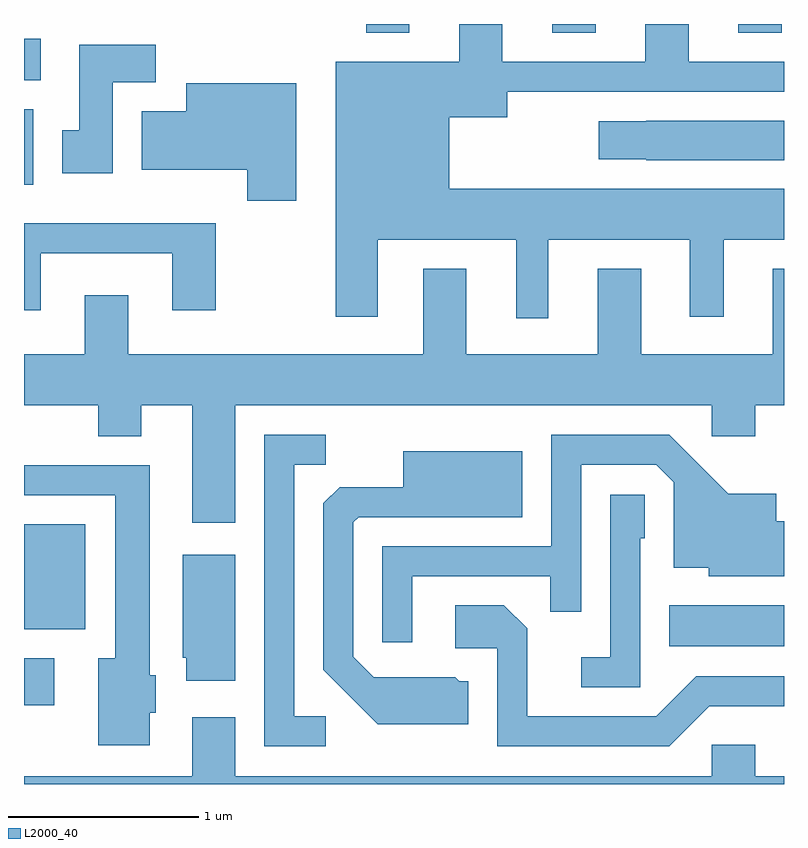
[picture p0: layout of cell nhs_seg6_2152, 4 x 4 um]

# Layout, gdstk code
import gdstk
lib = gdstk.Library(unit=1e-6, precision=1e-09)
def R(c, l, rs):  # rectangles x0, y0, x1, y1
    for r in rs: c.add(gdstk.rectangle(r[:2], r[2:], *l))
def A(c, l, x, y, w, h, nx, ny, dx, dy):  # array of equal rectangles
    R(c, l, [(x+i*dx, y+j*dy, x+i*dx+w, y+j*dy+h) for i in range(nx) for j in range(ny)])
def P(c, l, *ps):  # polygons
    for p in ps: c.add(gdstk.Polygon(p, *l))
L2000_40 = (2000, 40)

nhs_seg6_2152 = lib.new_cell('nhs_seg6_2152')
A(nhs_seg6_2152, L2000_40, 251.411, 1654.116, 0.228, 0.046, 3, 1, 0.98, 0)
R(nhs_seg6_2152, L2000_40, [(249.611,1650.576,249.769,1650.824), (253.006,1650.886,253.611,1651.104), (249.611,1650.976,249.934,1651.529), (249.611,1653.316,249.659,1653.714), (249.611,1653.866,249.699,1654.084)])
P(nhs_seg6_2152, L2000_40, [(252.369,1653.026),(253.116,1653.026),(253.116,1652.621),(253.294,1652.621),(253.294,1653.026),(253.611,1653.026),(253.611,1653.294),(251.849,1653.294),(251.849,1653.671),(252.154,1653.671),(252.154,1653.806),(253.611,1653.806),(253.611,1653.964),(253.109,1653.964),(253.109,1654.162),(252.881,1654.162),(252.881,1653.964),(252.129,1653.964),(252.129,1654.162),(251.901,1654.162),(251.901,1653.964),(251.251,1653.964),(251.251,1652.621),(251.474,1652.621),(251.474,1653.026),(252.201,1653.026),(252.201,1652.613),(252.369,1652.613)],
  [(250.079,1653.856),(250.304,1653.856),(250.304,1654.054),(249.901,1654.054),(249.901,1653.604),(249.811,1653.604),(249.811,1653.376),(250.079,1653.376)],
  [(251.044,1653.849),(250.466,1653.849),(250.466,1653.704),(250.231,1653.704),(250.231,1653.396),(250.786,1653.396),(250.786,1653.231),(251.044,1653.231)],
  [(253.611,1653.654),(252.885,1653.654),(252.885,1653.649),(252.636,1653.649),(252.636,1653.451),(252.885,1653.451),(252.885,1653.446),(253.611,1653.446)],
  [(249.699,1652.956),(250.391,1652.956),(250.391,1652.656),(250.619,1652.656),(250.619,1653.114),(249.611,1653.114),(249.611,1652.656),(249.699,1652.656)],
  [(250.724,1652.156),(253.231,1652.156),(253.231,1651.991),(253.459,1651.991),(253.459,1652.156),(253.611,1652.156),(253.611,1652.874),(253.551,1652.874),(253.551,1652.424),(252.859,1652.424),(252.859,1652.874),(252.631,1652.874),(252.631,1652.424),(251.939,1652.424),(251.939,1652.874),(251.711,1652.874),(251.711,1652.424),(250.159,1652.424),(250.159,1652.734),(249.931,1652.734),(249.931,1652.424),(249.611,1652.424),(249.611,1652.156),(250.001,1652.156),(250.001,1651.991),(250.229,1651.991),(250.229,1652.156),(250.496,1652.156),(250.496,1651.536),(250.724,1651.536)],
  [(251.198,1650.519),(251.034,1650.519),(251.034,1651.841),(251.198,1651.841),(251.198,1651.999),(250.876,1651.999),(250.876,1650.361),(251.198,1650.361)],
  [(251.654,1651.256),(252.381,1651.256),(252.381,1651.068),(252.544,1651.068),(252.544,1651.841),(252.939,1651.841),(253.031,1651.749),(253.031,1651.301),(253.216,1651.301),(253.216,1651.256),(253.611,1651.256),(253.611,1651.544),(253.569,1651.544),(253.569,1651.689),(253.317,1651.689),(253.007,1651.999),(252.386,1651.999),(252.386,1651.414),(251.496,1651.414),(251.496,1650.908),(251.654,1650.908)],
  [(251.949,1650.704),(251.902,1650.704),(251.882,1650.724),(251.452,1650.724),(251.344,1650.832),(251.344,1651.539),(251.372,1651.566),(252.234,1651.566),(252.234,1651.914),(251.606,1651.914),(251.606,1651.724),(251.272,1651.724),(251.186,1651.639),(251.186,1650.764),(251.474,1650.476),(251.949,1650.476)],
  [(250.274,1650.536),(250.304,1650.536),(250.304,1650.734),(250.274,1650.734),(250.274,1651.839),(249.611,1651.839),(249.611,1651.681),(250.091,1651.681),(250.091,1650.824),(250.001,1650.824),(250.001,1650.366),(250.274,1650.366)],
  [(252.854,1651.456),(252.879,1651.456),(252.879,1651.684),(252.696,1651.684),(252.696,1650.829),(252.543,1650.829),(252.543,1650.671),(252.854,1650.671)],
  [(250.724,1651.369),(250.446,1651.369),(250.446,1650.826),(250.466,1650.826),(250.466,1650.706),(250.724,1650.706)],
  [(253.217,1650.571),(253.611,1650.571),(253.611,1650.729),(253.149,1650.729),(252.939,1650.519),(252.259,1650.519),(252.259,1650.982),(252.137,1651.104),(251.881,1651.104),(251.881,1650.876),(252.101,1650.876),(252.101,1650.361),(253.007,1650.361)],
  [(253.611,1650.204),(253.459,1650.204),(253.459,1650.369),(253.231,1650.369),(253.231,1650.204),(250.724,1650.204),(250.724,1650.514),(250.496,1650.514),(250.496,1650.204),(249.611,1650.204),(249.611,1650.162),(253.611,1650.162)])

lib.write_gds('nhs_seg6_2152.gds')
